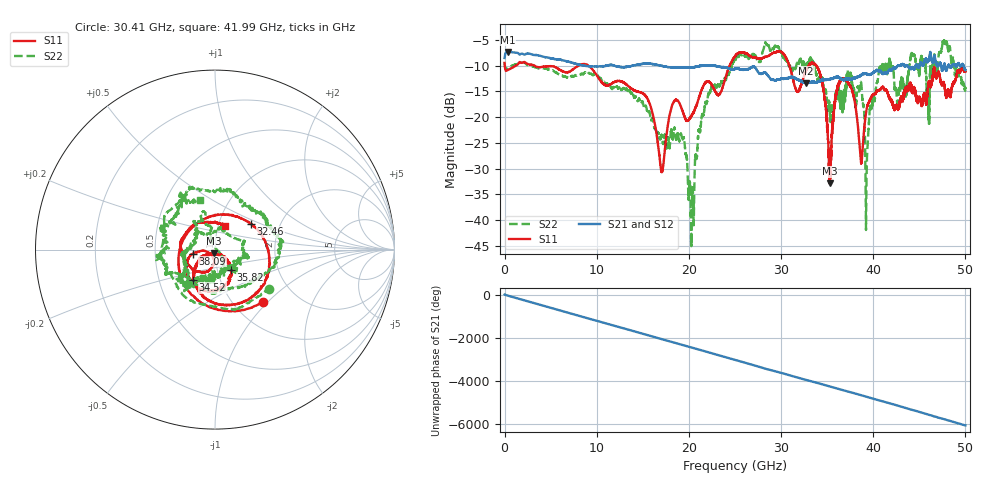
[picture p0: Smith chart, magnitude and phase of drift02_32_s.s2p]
!Created with skrf (http://scikit-rf.org).
# Hz S RI R 50.0
!freq ReS11 ImS11 ReS21 ImS21 ReS12 ImS12 ReS22 ImS22
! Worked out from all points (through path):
!   10001 points, 300 kHz to 50 GHz, reference 50 ohm
!   highest |S21| = -7.32 dB at 335.3 MHz (marker M1); lowest = -13.4 dB at 32.72 GHz (marker M2)
!   group delay of S21, straight-line fit = 335 ps
!   lowest |S11| = -32.9 dB at 35.26 GHz (marker M3), VSWR 1.05, Z = 49.2 - j2.11 ohm
!   |S11| at or under -10 dB: 3.231 GHz to 8.006 GHz (4.776 GHz wide, 85 % of centre); 9.103 GHz to 24.42 GHz (15.31 GHz wide, 91.4 % of centre); 33.83 GHz to end of sweep (the widest 3 of 9)
!   |S22| runs from -45.1 to -5.1 dB; largest |S21 - S12| = 0.013
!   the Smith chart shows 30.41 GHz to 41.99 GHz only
!   S11 on the Smith chart (normalised r, x): 30.41 GHz: 1.35, -0.94; 32.46 GHz: 1.42, +0.44; 34.52 GHz: 0.74, -0.26; 35.82 GHz: 1.16, -0.26; 38.09 GHz: 0.78, -0.04; 41.99 GHz: 1.08, +0.29
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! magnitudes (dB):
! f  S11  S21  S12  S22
! 300 kHz  -9.5  -8.5  -8.5  -9.4
! 335.3 MHz  -10.9  -7.3  -7.3  -10.5
! 8.335 GHz  -9.7  -9.9  -9.9  -11.6
! 16.67 GHz  -25.7  -9.9  -9.9  -23.1
! 19.31 GHz  -18.8  -10.4  -10.4  -24.4
! 20.35 GHz  -19.5  -10.4  -10.3  -35.4
! 21.94 GHz  -13.1  -10.0  -10.0  -17.1
! 25 GHz  -8.2  -10.6  -10.6  -9.0
! 30.41 GHz  -8.1  -12.5  -12.5  -8.6
! 32.46 GHz  -12.1  -13.2  -13.3  -9.4
! 32.72 GHz  -11.0  -13.4  -13.5  -10.3
! 33.34 GHz  -9.5  -13.2  -13.2  -9.1
! 34.52 GHz  -13.6  -12.7  -12.8  -12.5
! 35.26 GHz  -32.9  -12.6  -12.6  -18.2
! 35.82 GHz  -17.0  -12.3  -12.4  -16.9
! 38.09 GHz  -18.1  -12.3  -12.3  -17.6
! 38.69 GHz  -28.9  -11.8  -11.8  -13.3
! 39.31 GHz  -18.2  -11.6  -11.6  -28.9
! 41.67 GHz  -16.0  -10.9  -11.1  -9.7
! 41.99 GHz  -16.9  -11.0  -10.9  -10.8
! 47.77 GHz  -14.4  -9.8  -9.8  -5.5
! 50 GHz  -11.1  -10.8  -10.8  -14.4
